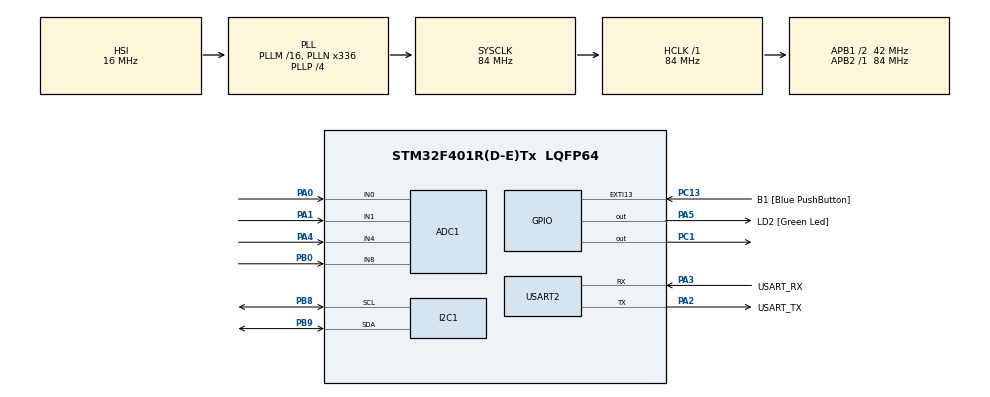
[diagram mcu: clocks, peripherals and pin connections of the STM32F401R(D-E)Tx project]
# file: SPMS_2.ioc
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ADC1.Channel-0\#ChannelRegularConversion=ADC_CHANNEL_0
ADC1.Channel-1\#ChannelRegularConversion=ADC_CHANNEL_1
ADC1.Channel-2\#ChannelRegularConversion=ADC_CHANNEL_4
ADC1.Channel-3\#ChannelRegularConversion=ADC_CHANNEL_8
ADC1.DMAContinuousRequests=ENABLE
ADC1.EOCSelection=ADC_EOC_SEQ_CONV
ADC1.ExternalTrigConv=ADC_EXTERNALTRIGCONV_T2_TRGO
ADC1.InjNumberOfConversion=0
ADC1.NbrOfConversion=4
ADC1.NbrOfConversionFlag=1
ADC1.Rank-0\#ChannelRegularConversion=1
ADC1.Rank-1\#ChannelRegularConversion=2
ADC1.Rank-2\#ChannelRegularConversion=3
ADC1.Rank-3\#ChannelRegularConversion=4
ADC1.SamplingTime-0\#ChannelRegularConversion=ADC_SAMPLETIME_15CYCLES
ADC1.SamplingTime-1\#ChannelRegularConversion=ADC_SAMPLETIME_15CYCLES
ADC1.SamplingTime-2\#ChannelRegularConversion=ADC_SAMPLETIME_15CYCLES
ADC1.SamplingTime-3\#ChannelRegularConversion=ADC_SAMPLETIME_15CYCLES
ADC1.ScanConvMode=ENABLE
ADC1.master=1
Dma.ADC1.0.Direction=DMA_PERIPH_TO_MEMORY
Dma.ADC1.0.FIFOMode=DMA_FIFOMODE_DISABLE
Dma.ADC1.0.Instance=DMA2_Stream0
Dma.ADC1.0.MemDataAlignment=DMA_MDATAALIGN_WORD
Dma.ADC1.0.MemInc=DMA_MINC_ENABLE
Dma.ADC1.0.Mode=DMA_CIRCULAR
Dma.ADC1.0.PeriphDataAlignment=DMA_PDATAALIGN_WORD
Dma.ADC1.0.PeriphInc=DMA_PINC_DISABLE
Dma.ADC1.0.Priority=DMA_PRIORITY_LOW
Dma.Request0=ADC1
Mcu.Family=STM32F4
Mcu.Name=STM32F401R(D-E)Tx
Mcu.Package=LQFP64
NVIC.ADC_IRQn=true\:0\:0\:false\:false\:true\:true\:true\:true
NVIC.DMA2_Stream0_IRQn=true\:0\:0\:false\:false\:true\:false\:true\:true
NVIC.PriorityGroup=NVIC_PRIORITYGROUP_0
PA0-WKUP.Signal=ADCx_IN0
PA1.Signal=ADCx_IN1
PA13.GPIO_Label=TMS
PA13.Mode=Serial_Wire
PA13.Signal=SYS_JTMS-SWDIO
PA14.GPIO_Label=TCK
PA14.Mode=Serial_Wire
PA14.Signal=SYS_JTCK-SWCLK
PA2.GPIO_Label=USART_TX
PA2.GPIO_Mode=GPIO_MODE_AF_PP
PA2.GPIO_PuPd=GPIO_NOPULL
PA2.GPIO_Speed=GPIO_SPEED_FREQ_LOW
PA2.Mode=Asynchronous
PA2.Signal=USART2_TX
PA3.GPIO_Label=USART_RX
PA3.GPIO_Mode=GPIO_MODE_AF_PP
PA3.GPIO_PuPd=GPIO_NOPULL
PA3.GPIO_Speed=GPIO_SPEED_FREQ_LOW
PA3.Mode=Asynchronous
PA3.Signal=USART2_RX
PA4.Signal=ADCx_IN4
PA5.GPIO_Label=LD2 [Green Led]
PA5.GPIO_Mode=GPIO_MODE_OUTPUT_PP
PA5.GPIO_PuPd=GPIO_NOPULL
PA5.GPIO_Speed=GPIO_SPEED_FREQ_LOW
PA5.Signal=GPIO_Output
PB0.Signal=ADCx_IN8
PB3.GPIO_Label=SWO
PB3.Signal=SYS_JTDO-SWO
PB8.Mode=I2C
PB8.Signal=I2C1_SCL
PB9.Mode=I2C
PB9.Signal=I2C1_SDA
PC1.Signal=GPIO_Output
PC13-ANTI_TAMP.GPIO_Label=B1 [Blue PushButton]
PC13-ANTI_TAMP.GPIO_ModeDefaultEXTI=GPIO_MODE_IT_FALLING
PC13-ANTI_TAMP.GPIO_PuPd=GPIO_NOPULL
PC13-ANTI_TAMP.Signal=GPXTI13
PC14-OSC32_IN.Mode=LSE-External-Oscillator
PC14-OSC32_IN.Signal=RCC_OSC32_IN
PC15-OSC32_OUT.Mode=LSE-External-Oscillator
PC15-OSC32_OUT.Signal=RCC_OSC32_OUT
PH0\ -\ OSC_IN.Mode=HSE-External-Clock-Source
PH0\ -\ OSC_IN.Signal=RCC_OSC_IN
PH1\ -\ OSC_OUT.Mode=HSE-External-Clock-Source
PH1\ -\ OSC_OUT.Signal=RCC_OSC_OUT
ProjectManager.HeapSize=0x200
ProjectManager.StackSize=0x400
ProjectManager.TargetToolchain=STM32CubeIDE
RCC.48MHZClocksFreq_Value=48000000
RCC.AHBFreq_Value=84000000
RCC.APB1CLKDivider=RCC_HCLK_DIV2
RCC.APB1Freq_Value=42000000
RCC.APB1TimFreq_Value=84000000
RCC.APB2Freq_Value=84000000
RCC.APB2TimFreq_Value=84000000
RCC.CortexFreq_Value=84000000
RCC.HCLKFreq_Value=84000000
RCC.HSE_VALUE=8000000
RCC.HSI_VALUE=16000000
RCC.PLLN=336
RCC.PLLP=RCC_PLLP_DIV4
RCC.PLLQ=7
RCC.SYSCLKFreq_VALUE=84000000
RCC.SYSCLKSource=RCC_SYSCLKSOURCE_PLLCLK
RCC.VCOOutputFreq_Value=336000000
SH.ADCx_IN0.0=ADC1_IN0,IN0
SH.ADCx_IN1.0=ADC1_IN1,IN1
SH.ADCx_IN4.0=ADC1_IN4,IN4
SH.ADCx_IN8.0=ADC1_IN8,IN8
TIM2.Period=100
TIM2.Prescaler=8400
TIM2.TIM_MasterOutputTrigger=TIM_TRGO_UPDATE
USART2.VirtualMode=VM_ASYNC
VP_TIM2_VS_ClockSourceINT.Mode=Internal
board=NUCLEO-F401RE

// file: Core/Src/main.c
/* USER CODE BEGIN Header */
/**
  ******************************************************************************
  * @file           : main.c
  * @brief          : Main program body
  ******************************************************************************
  * @attention
  *
  * Copyright (c) 2022 STMicroelectronics.
  * All rights reserved.
  *
  * This software is licensed under terms that can be found in the LICENSE file
  * in the root directory of this software component.
  * If no LICENSE file comes with this software, it is provided AS-IS.
  *
  ******************************************************************************
  */
/* USER CODE END Header */
#include "main.h"

/* USER CODE BEGIN Includes */
#include "stdio.h"
#include "string.h"
#include "stdbool.h"
/* USER CODE END Includes */

ADC_HandleTypeDef hadc1;
DMA_HandleTypeDef hdma_adc1;

I2C_HandleTypeDef hi2c1;

TIM_HandleTypeDef htim2;

UART_HandleTypeDef huart2;

void SystemClock_Config(void);
static void MX_GPIO_Init(void);
static void MX_DMA_Init(void);
static void MX_USART2_UART_Init(void);
static void MX_ADC1_Init(void);
static void MX_TIM2_Init(void);
static void MX_I2C1_Init(void);

/* USER CODE BEGIN 0 */

uint32_t adcRaw[4];

float R1=30000.0;
float R2=7500.0;
float RShunt=100.0;

int lux;
float voltage, shuntVol, current, temp;

////////////////////////////////////////////////////////////////////LCD CODE

#define SLAVE_ADDRESS_LCD 0x3F<<1

int convInt(uint32_t dump){
	char data[100];
	sprintf(data,"%lu", dump);
	int dataInt;
	sscanf(data, "%d", &dataInt);
	return dataInt;
}

void lcd_send_cmd (char cmd)
{
  char data_u, data_l;
	uint8_t data_t[4];
	data_u = (cmd&0xf0);
	data_l = ((cmd<<4)&0xf0);
	data_t[0] = data_u|0x0C;
	data_t[1] = data_u|0x08;
	data_t[2] = data_l|0x0C;
	data_t[3] = data_l|0x08;
	HAL_I2C_Master_Transmit (&hi2c1, SLAVE_ADDRESS_LCD,(uint8_t *) data_t, 4, 100);
}

void lcd_send_data (char data)
{
	char data_u, data_l;
	uint8_t data_t[4];
	data_u = (data&0xf0);
	data_l = ((data<<4)&0xf0);
	data_t[0] = data_u|0x0D;
	data_t[1] = data_u|0x09;
	data_t[2] = data_l|0x0D;
	data_t[3] = data_l|0x09;
	HAL_I2C_Master_Transmit (&hi2c1, SLAVE_ADDRESS_LCD,(uint8_t *) data_t, 4, 100);
}

void lcd_init (void)
{
	// 4 bit initialisation
	HAL_Delay(50);  // wait for >40ms
	lcd_send_cmd (0x30);
	HAL_Delay(5);  // wait for >4.1ms
	lcd_send_cmd (0x30);
	HAL_Delay(1);  // wait for >100us
	lcd_send_cmd (0x30);
	HAL_Delay(10);
	lcd_send_cmd (0x20);  // 4bit mode
	HAL_Delay(10);

  // dislay initialisation
	lcd_send_cmd (0x20); // Function set --> DL=0 (4 bit mode), N = 1 (2 line display) F = 0 (5x8 characters)
	HAL_Delay(1);
	lcd_send_cmd (0x08); //Display on/off control --> D=0,C=0, B=0  ---> display off
	HAL_Delay(1);
	lcd_send_cmd (0x01);  // clear display
	HAL_Delay(1);
	HAL_Delay(1);
	lcd_send_cmd (0x06); //Entry mode set --> I/D = 1 (increment cursor) & S = 0 (no shift)
	HAL_Delay(1);
	lcd_send_cmd (0x0C); //Display on/off control --> D = 1, C and B = 0. (Cursor and blink, last two bits)
}

void lcd_clear (void)
{
	lcd_send_cmd (0x80);
	for (int i=0; i<70; i++)
	{
		lcd_send_data (' ');
	}
}

void lcd_put_cur(int row, int col)
{
    switch (row)
    {
        case 0:
            col |= 0x80;
            break;
        case 1:
            col |= 0xC0;
            break;
    }
    lcd_send_cmd (col);
}

void lcd_send_string (char *str)
{
	while (*str) lcd_send_data (*str++);
}

void showLCD(char dump[100],int col, int row,bool cls){
	if(cls){
		lcd_clear ();
	}
	lcd_put_cur(row,col);
	lcd_send_string (dump);
}
//////////////////////////////////////////////////////////////////////////////////////////
/* USER CODE END 0 */

int main(void)
{

  /* MCU Configuration--------------------------------------------------------*/

  /* Reset of all peripherals, Initializes the Flash interface and the Systick. */
  HAL_Init();

  /* Configure the system clock */
  SystemClock_Config();

  /* Initialize all configured peripherals */
  MX_GPIO_Init();
  MX_DMA_Init();
  MX_USART2_UART_Init();
  MX_ADC1_Init();
  MX_TIM2_Init();
  MX_I2C1_Init();
  /* USER CODE BEGIN 2 */

  HAL_TIM_Base_Start(&htim2);
  HAL_ADC_Start_DMA(&hadc1, adcRaw, 4);

  lcd_init(); /// LCD INITIAISE
  /* USER CODE END 2 */

  /* Infinite loop */
  /* USER CODE BEGIN WHILE */
  while (1)
  {
	  char voltageLCD[30]; char currentLCD[30]; char tempLCD[30]; char luxLCD[30]; // LCD CHARACTER VARIABLES

	  int voltageADC = convInt(adcRaw[0]);
	  int shuntVolADC = convInt(adcRaw[1]);
	  int tempADC = convInt(adcRaw[2]);
	  int luxADC = convInt(adcRaw[3]);

	  voltage = voltageADC * (5.0/4095.0) * ((R1 + R2)/R2);
	  shuntVol = shuntVolADC * (5.0/4095.0) * ((R1 + R2)/R2);

	  current = (shuntVol/RShunt)*1000;
	  temp = ((tempADC * (5000 / 4095.0))/10)-10;

	  lux  = (luxADC/4095.0)*100;

	  sprintf(voltageLCD, "V:%.1fV", voltage);
	  showLCD(voltageLCD,0,0,true);

	  sprintf(currentLCD, "I:%.1fmA", current);
	  showLCD(currentLCD,0,1,false);

	  sprintf(tempLCD, "T:%.1fC", temp);
	  showLCD(tempLCD,8,0,false);

	  sprintf(luxLCD, "L:%dLx", lux);
	  showLCD(luxLCD,9,1,false);

	  if(temp>60){
		  HAL_GPIO_WritePin(GPIOC, GPIO_PIN_1,GPIO_PIN_SET);
	  }
	  else{
		  HAL_GPIO_WritePin(GPIOC, GPIO_PIN_1,GPIO_PIN_RESET);
	  }

	  HAL_Delay(1000);
    /* USER CODE END WHILE */

  }
}

void SystemClock_Config(void)
{
  RCC_OscInitTypeDef RCC_OscInitStruct = {0};
  RCC_ClkInitTypeDef RCC_ClkInitStruct = {0};

  /** Configure the main internal regulator output voltage
  */
  __HAL_RCC_PWR_CLK_ENABLE();
  __HAL_PWR_VOLTAGESCALING_CONFIG(PWR_REGULATOR_VOLTAGE_SCALE2);

  /** Initializes the RCC Oscillators according to the specified parameters
  * in the RCC_OscInitTypeDef structure.
  */
  RCC_OscInitStruct.OscillatorType = RCC_OSCILLATORTYPE_HSI;
  RCC_OscInitStruct.HSIState = RCC_HSI_ON;
  RCC_OscInitStruct.HSICalibrationValue = RCC_HSICALIBRATION_DEFAULT;
  RCC_OscInitStruct.PLL.PLLState = RCC_PLL_ON;
  RCC_OscInitStruct.PLL.PLLSource = RCC_PLLSOURCE_HSI;
  RCC_OscInitStruct.PLL.PLLM = 16;
  RCC_OscInitStruct.PLL.PLLN = 336;
  RCC_OscInitStruct.PLL.PLLP = RCC_PLLP_DIV4;
  RCC_OscInitStruct.PLL.PLLQ = 7;
  if (HAL_RCC_OscConfig(&RCC_OscInitStruct) != HAL_OK)
  {
    Error_Handler();
  }

  /** Initializes the CPU, AHB and APB buses clocks
  */
  RCC_ClkInitStruct.ClockType = RCC_CLOCKTYPE_HCLK|RCC_CLOCKTYPE_SYSCLK
                              |RCC_CLOCKTYPE_PCLK1|RCC_CLOCKTYPE_PCLK2;
  RCC_ClkInitStruct.SYSCLKSource = RCC_SYSCLKSOURCE_PLLCLK;
  RCC_ClkInitStruct.AHBCLKDivider = RCC_SYSCLK_DIV1;
  RCC_ClkInitStruct.APB1CLKDivider = RCC_HCLK_DIV2;
  RCC_ClkInitStruct.APB2CLKDivider = RCC_HCLK_DIV1;

  if (HAL_RCC_ClockConfig(&RCC_ClkInitStruct, FLASH_LATENCY_2) != HAL_OK)
  {
    Error_Handler();
  }
}

static void MX_ADC1_Init(void)
{

  ADC_ChannelConfTypeDef sConfig = {0};

  /** Configure the global features of the ADC (Clock, Resolution, Data Alignment and number of conversion)
  */
  hadc1.Instance = ADC1;
  hadc1.Init.ClockPrescaler = ADC_CLOCK_SYNC_PCLK_DIV4;
  hadc1.Init.Resolution = ADC_RESOLUTION_12B;
  hadc1.Init.ScanConvMode = ENABLE;
  hadc1.Init.ContinuousConvMode = DISABLE;
  hadc1.Init.DiscontinuousConvMode = DISABLE;
  hadc1.Init.ExternalTrigConvEdge = ADC_EXTERNALTRIGCONVEDGE_RISING;
  hadc1.Init.ExternalTrigConv = ADC_EXTERNALTRIGCONV_T2_TRGO;
  hadc1.Init.DataAlign = ADC_DATAALIGN_RIGHT;
  hadc1.Init.NbrOfConversion = 4;
  hadc1.Init.DMAContinuousRequests = ENABLE;
  hadc1.Init.EOCSelection = ADC_EOC_SEQ_CONV;
  if (HAL_ADC_Init(&hadc1) != HAL_OK)
  {
    Error_Handler();
  }

  /** Configure for the selected ADC regular channel its corresponding rank in the sequencer and its sample time.
  */
  sConfig.Channel = ADC_CHANNEL_0;
  sConfig.Rank = 1;
  sConfig.SamplingTime = ADC_SAMPLETIME_15CYCLES;
  if (HAL_ADC_ConfigChannel(&hadc1, &sConfig) != HAL_OK)
  {
    Error_Handler();
  }

  /** Configure for the selected ADC regular channel its corresponding rank in the sequencer and its sample time.
  */
  sConfig.Channel = ADC_CHANNEL_1;
  sConfig.Rank = 2;
  if (HAL_ADC_ConfigChannel(&hadc1, &sConfig) != HAL_OK)
  {
    Error_Handler();
  }

  /** Configure for the selected ADC regular channel its corresponding rank in the sequencer and its sample time.
  */
  sConfig.Channel = ADC_CHANNEL_4;
  sConfig.Rank = 3;
  if (HAL_ADC_ConfigChannel(&hadc1, &sConfig) != HAL_OK)
  {
    Error_Handler();
  }

  /** Configure for the selected ADC regular channel its corresponding rank in the sequencer and its sample time.
  */
  sConfig.Channel = ADC_CHANNEL_8;
  sConfig.Rank = 4;
  if (HAL_ADC_ConfigChannel(&hadc1, &sConfig) != HAL_OK)
  {
    Error_Handler();
  }

}

static void MX_I2C1_Init(void)
{

  hi2c1.Instance = I2C1;
  hi2c1.Init.ClockSpeed = 100000;
  hi2c1.Init.DutyCycle = I2C_DUTYCYCLE_2;
  hi2c1.Init.OwnAddress1 = 0;
  hi2c1.Init.AddressingMode = I2C_ADDRESSINGMODE_7BIT;
  hi2c1.Init.DualAddressMode = I2C_DUALADDRESS_DISABLE;
  hi2c1.Init.OwnAddress2 = 0;
  hi2c1.Init.GeneralCallMode = I2C_GENERALCALL_DISABLE;
  hi2c1.Init.NoStretchMode = I2C_NOSTRETCH_DISABLE;
  if (HAL_I2C_Init(&hi2c1) != HAL_OK)
  {
    Error_Handler();
  }

}

static void MX_TIM2_Init(void)
{

  TIM_ClockConfigTypeDef sClockSourceConfig = {0};
  TIM_MasterConfigTypeDef sMasterConfig = {0};

  htim2.Instance = TIM2;
  htim2.Init.Prescaler = 8400;
  htim2.Init.CounterMode = TIM_COUNTERMODE_UP;
  htim2.Init.Period = 100;
  htim2.Init.ClockDivision = TIM_CLOCKDIVISION_DIV1;
  htim2.Init.AutoReloadPreload = TIM_AUTORELOAD_PRELOAD_DISABLE;
  if (HAL_TIM_Base_Init(&htim2) != HAL_OK)
  {
    Error_Handler();
  }
  sClockSourceConfig.ClockSource = TIM_CLOCKSOURCE_INTERNAL;
  if (HAL_TIM_ConfigClockSource(&htim2, &sClockSourceConfig) != HAL_OK)
  {
    Error_Handler();
  }
  sMasterConfig.MasterOutputTrigger = TIM_TRGO_UPDATE;
  sMasterConfig.MasterSlaveMode = TIM_MASTERSLAVEMODE_DISABLE;
  if (HAL_TIMEx_MasterConfigSynchronization(&htim2, &sMasterConfig) != HAL_OK)
  {
    Error_Handler();
  }

}

static void MX_USART2_UART_Init(void)
{

  huart2.Instance = USART2;
  huart2.Init.BaudRate = 115200;
  huart2.Init.WordLength = UART_WORDLENGTH_8B;
  huart2.Init.StopBits = UART_STOPBITS_1;
  huart2.Init.Parity = UART_PARITY_NONE;
  huart2.Init.Mode = UART_MODE_TX_RX;
  huart2.Init.HwFlowCtl = UART_HWCONTROL_NONE;
  huart2.Init.OverSampling = UART_OVERSAMPLING_16;
  if (HAL_UART_Init(&huart2) != HAL_OK)
  {
    Error_Handler();
  }

}

static void MX_DMA_Init(void)
{

  /* DMA controller clock enable */
  __HAL_RCC_DMA2_CLK_ENABLE();

  /* DMA interrupt init */
  /* DMA2_Stream0_IRQn interrupt configuration */
  HAL_NVIC_SetPriority(DMA2_Stream0_IRQn, 0, 0);
  HAL_NVIC_EnableIRQ(DMA2_Stream0_IRQn);

}

static void MX_GPIO_Init(void)
{
  GPIO_InitTypeDef GPIO_InitStruct = {0};

  /* GPIO Ports Clock Enable */
  __HAL_RCC_GPIOC_CLK_ENABLE();
  __HAL_RCC_GPIOH_CLK_ENABLE();
  __HAL_RCC_GPIOA_CLK_ENABLE();
  __HAL_RCC_GPIOB_CLK_ENABLE();

  /*Configure GPIO pin Output Level */
  HAL_GPIO_WritePin(GPIOC, GPIO_PIN_1, GPIO_PIN_RESET);

  /*Configure GPIO pin Output Level */
  HAL_GPIO_WritePin(LD2_GPIO_Port, LD2_Pin, GPIO_PIN_RESET);

  /*Configure GPIO pin : B1_Pin */
  GPIO_InitStruct.Pin = B1_Pin;
  GPIO_InitStruct.Mode = GPIO_MODE_IT_FALLING;
  GPIO_InitStruct.Pull = GPIO_NOPULL;
  HAL_GPIO_Init(B1_GPIO_Port, &GPIO_InitStruct);

  /*Configure GPIO pin : PC1 */
  GPIO_InitStruct.Pin = GPIO_PIN_1;
  GPIO_InitStruct.Mode = GPIO_MODE_OUTPUT_PP;
  GPIO_InitStruct.Pull = GPIO_NOPULL;
  GPIO_InitStruct.Speed = GPIO_SPEED_FREQ_LOW;
  HAL_GPIO_Init(GPIOC, &GPIO_InitStruct);

  /*Configure GPIO pin : LD2_Pin */
  GPIO_InitStruct.Pin = LD2_Pin;
  GPIO_InitStruct.Mode = GPIO_MODE_OUTPUT_PP;
  GPIO_InitStruct.Pull = GPIO_NOPULL;
  GPIO_InitStruct.Speed = GPIO_SPEED_FREQ_LOW;
  HAL_GPIO_Init(LD2_GPIO_Port, &GPIO_InitStruct);

}

/* USER CODE BEGIN 4 */
/////////////////////////////////////////////////////////

/////////////////////////////////////////////////////////
/* USER CODE END 4 */

void Error_Handler(void)
{
  __disable_irq();
  while (1)
  {
  }
}
